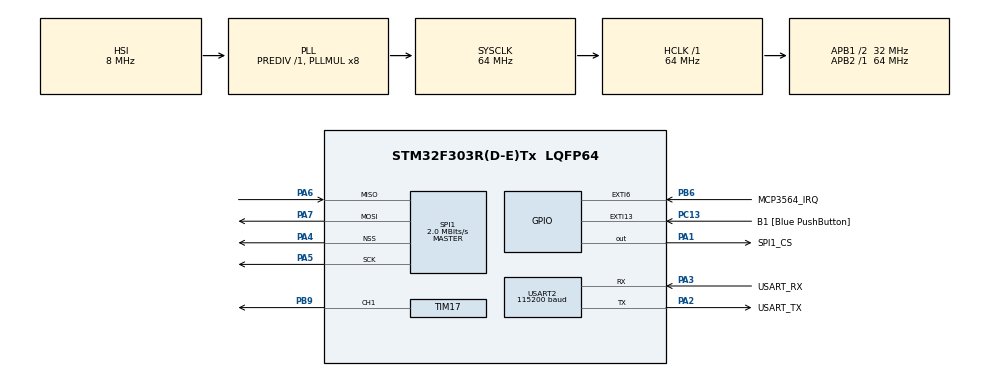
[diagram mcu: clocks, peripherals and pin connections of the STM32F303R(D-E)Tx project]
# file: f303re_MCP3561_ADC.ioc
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Dma.Request0=SPI1_RX
Dma.SPI1_RX.0.Direction=DMA_PERIPH_TO_MEMORY
Dma.SPI1_RX.0.Instance=DMA1_Channel2
Dma.SPI1_RX.0.MemDataAlignment=DMA_MDATAALIGN_BYTE
Dma.SPI1_RX.0.MemInc=DMA_MINC_ENABLE
Dma.SPI1_RX.0.Mode=DMA_NORMAL
Dma.SPI1_RX.0.PeriphDataAlignment=DMA_PDATAALIGN_BYTE
Dma.SPI1_RX.0.PeriphInc=DMA_PINC_DISABLE
Dma.SPI1_RX.0.Priority=DMA_PRIORITY_HIGH
Mcu.Family=STM32F3
Mcu.Name=STM32F303R(D-E)Tx
Mcu.Package=LQFP64
NVIC.DMA1_Channel2_IRQn=true\:0\:0\:false\:false\:true\:false\:true
NVIC.EXTI9_5_IRQn=true\:0\:0\:false\:false\:true\:true\:true
NVIC.PriorityGroup=NVIC_PRIORITYGROUP_0
NVIC.SPI1_IRQn=true\:0\:0\:false\:false\:true\:true\:true
PA1.GPIO_Label=SPI1_CS
PA1.GPIO_Speed=GPIO_SPEED_FREQ_HIGH
PA1.PinState=GPIO_PIN_SET
PA1.Signal=GPIO_Output
PA13.GPIO_Label=TMS
PA13.Mode=Serial_Wire
PA13.Signal=SYS_JTMS-SWDIO
PA14.GPIO_Label=TCK
PA14.Mode=Serial_Wire
PA14.Signal=SYS_JTCK-SWCLK
PA2.GPIO_Label=USART_TX
PA2.GPIO_Mode=GPIO_MODE_AF_PP
PA2.GPIO_PuPd=GPIO_NOPULL
PA2.GPIO_Speed=GPIO_SPEED_FREQ_LOW
PA2.Mode=Asynchronous
PA2.Signal=USART2_TX
PA3.GPIO_Label=USART_RX
PA3.GPIO_Mode=GPIO_MODE_AF_PP
PA3.GPIO_PuPd=GPIO_NOPULL
PA3.GPIO_Speed=GPIO_SPEED_FREQ_LOW
PA3.Mode=Asynchronous
PA3.Signal=USART2_RX
PA4.Mode=NSS_Signal_Hard_Output
PA4.Signal=SPI1_NSS
PA5.Mode=Full_Duplex_Master
PA5.Signal=SPI1_SCK
PA6.Mode=Full_Duplex_Master
PA6.Signal=SPI1_MISO
PA7.Mode=Full_Duplex_Master
PA7.Signal=SPI1_MOSI
PB6.GPIO_Label=MCP3564_IRQ
PB6.GPIO_ModeDefaultEXTI=GPIO_MODE_IT_RISING
PB6.Signal=GPXTI6
PB9.Signal=S_TIM17_CH1
PC13.GPIO_Label=B1 [Blue PushButton]
PC13.GPIO_ModeDefaultEXTI=GPIO_MODE_IT_FALLING
PC13.Signal=GPXTI13
PC14-OSC32_IN.Mode=LSE-External-Oscillator
PC14-OSC32_IN.Signal=RCC_OSC32_IN
PC15-OSC32_OUT.Mode=LSE-External-Oscillator
PC15-OSC32_OUT.Signal=RCC_OSC32_OUT
PF0-OSC_IN.Mode=HSE-External-Clock-Source
PF0-OSC_IN.Signal=RCC_OSC_IN
PF1-OSC_OUT.Signal=RCC_OSC_OUT
ProjectManager.HeapSize=0x200
ProjectManager.StackSize=0x400
ProjectManager.TargetToolchain=STM32CubeIDE
RCC.AHBFreq_Value=64000000
RCC.APB1CLKDivider=RCC_HCLK_DIV2
RCC.APB1Freq_Value=32000000
RCC.APB1TimFreq_Value=64000000
RCC.APB2Freq_Value=64000000
RCC.APB2TimFreq_Value=64000000
RCC.CortexFreq_Value=64000000
RCC.HCLKFreq_Value=64000000
RCC.HSE_VALUE=8000000
RCC.HSI_VALUE=8000000
RCC.PLLM=8
RCC.PLLMUL=RCC_PLL_MUL8
RCC.PLLN=336
RCC.PLLP=RCC_PLLP_DIV4
RCC.PLLQ=7
RCC.RCC_PLLsource_Clock_Source_FROM_HSE=RCC_HSE_PREDIV_DIV2
RCC.SYSCLKFreq_VALUE=64000000
RCC.SYSCLKSourceVirtual=RCC_SYSCLKSOURCE_PLLCLK
RCC.TIM17Selection=RCC_TIM17CLK_PLLCLK
RCC.USBFreq_Value=64000000
SH.S_TIM17_CH1.0=TIM17_CH1,Output Compare1 CH1
SPI1.BaudRatePrescaler=SPI_BAUDRATEPRESCALER_32
SPI1.CalculateBaudRate=2.0 MBits/s
SPI1.DataSize=SPI_DATASIZE_8BIT
SPI1.Direction=SPI_DIRECTION_2LINES
SPI1.Mode=SPI_MODE_MASTER
SPI1.NSSPMode=SPI_NSS_PULSE_DISABLE
SPI1.TIMode=SPI_TIMODE_DISABLE
SPI1.VirtualNSS=VM_NSSHARD
SPI1.VirtualType=VM_MASTER
TIM17.Channel=TIM_CHANNEL_1
TIM17.OCMode_1=TIM_OCMODE_TOGGLE
TIM17.Period=13-1
USART2.BaudRate=115200
USART2.VirtualMode-Asynchronous=VM_ASYNC
VP_TIM17_VS_ClockSourceINT.Mode=Enable_Timer
board=NUCLEO-F303RE

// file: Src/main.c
/* USER CODE BEGIN Header */
/**
  ******************************************************************************
  * @file           : main.c
  * @brief          : Main program body
  ******************************************************************************
  * @attention
  *
  * <h2><center>&copy; Copyright (c) 2021 STMicroelectronics.
  * All rights reserved.</center></h2>
  *
  * This software component is licensed by ST under BSD 3-Clause license,
  * the "License"; You may not use this file except in compliance with the
  * License. You may obtain a copy of the License at:
  *                        opensource.org/licenses/BSD-3-Clause
  *
  ******************************************************************************
  */
/* USER CODE END Header */
#include "main.h"

/* USER CODE BEGIN Includes */
#include "mcp3564.h"
/* USER CODE END Includes */

SPI_HandleTypeDef hspi1;
DMA_HandleTypeDef hdma_spi1_rx;

TIM_HandleTypeDef htim17;

UART_HandleTypeDef huart2;

/* USER CODE BEGIN PV */
volatile uint32_t adc_val;
volatile bool setup_done;
/* USER CODE END PV */

void SystemClock_Config(void);
static void MX_GPIO_Init(void);
static void MX_USART2_UART_Init(void);
static void MX_DMA_Init(void);
static void MX_SPI1_Init(void);
static void MX_TIM17_Init(void);

int main(void)
{
  /* USER CODE BEGIN 1 */
	setup_done = false;
  /* USER CODE END 1 */

  /* MCU Configuration--------------------------------------------------------*/

  /* Reset of all peripherals, Initializes the Flash interface and the Systick. */
  HAL_Init();

  /* Configure the system clock */
  SystemClock_Config();

  /* Initialize all configured peripherals */
  MX_GPIO_Init();
  MX_USART2_UART_Init();
  MX_DMA_Init();
  MX_SPI1_Init();
  MX_TIM17_Init();
  /* USER CODE BEGIN 2 */
  printf("boink\n");
  HAL_TIM_Base_Start(&htim17);
  HAL_TIM_OC_Start(&htim17, TIM_CHANNEL_1);
  HAL_Delay(10);

  MCP3561_Reset(&hspi1);
  HAL_Delay(10);
  MCP3561_PrintRegisters(&hspi1);
  printf("\n");

  MCP3561_Init(&hspi1);
  printf("\n");
  HAL_Delay(10);
  MCP3561_PrintRegisters(&hspi1);
  printf("\n");

  setup_done = true;
  /* USER CODE END 2 */

  /* Infinite loop */
  while (1)
  {

    /* USER CODE BEGIN 3 */
	  //MCP3561_PrintRegisters();
	  //printf("\n");
	  HAL_Delay(100);
	  printf("%d\n", (int)adc_val);  // updated in ISR
  }
  /* USER CODE END 3 */
}

void SystemClock_Config(void)
{
  RCC_OscInitTypeDef RCC_OscInitStruct = {0};
  RCC_ClkInitTypeDef RCC_ClkInitStruct = {0};
  RCC_PeriphCLKInitTypeDef PeriphClkInit = {0};

  /** Initializes the RCC Oscillators according to the specified parameters
  * in the RCC_OscInitTypeDef structure.
  */
  RCC_OscInitStruct.OscillatorType = RCC_OSCILLATORTYPE_HSI;
  RCC_OscInitStruct.HSIState = RCC_HSI_ON;
  RCC_OscInitStruct.HSICalibrationValue = RCC_HSICALIBRATION_DEFAULT;
  RCC_OscInitStruct.PLL.PLLState = RCC_PLL_ON;
  RCC_OscInitStruct.PLL.PLLSource = RCC_PLLSOURCE_HSI;
  RCC_OscInitStruct.PLL.PLLMUL = RCC_PLL_MUL8;
  RCC_OscInitStruct.PLL.PREDIV = RCC_PREDIV_DIV1;
  if (HAL_RCC_OscConfig(&RCC_OscInitStruct) != HAL_OK)
  {
    Error_Handler();
  }
  /** Initializes the CPU, AHB and APB buses clocks
  */
  RCC_ClkInitStruct.ClockType = RCC_CLOCKTYPE_HCLK|RCC_CLOCKTYPE_SYSCLK
                              |RCC_CLOCKTYPE_PCLK1|RCC_CLOCKTYPE_PCLK2;
  RCC_ClkInitStruct.SYSCLKSource = RCC_SYSCLKSOURCE_PLLCLK;
  RCC_ClkInitStruct.AHBCLKDivider = RCC_SYSCLK_DIV1;
  RCC_ClkInitStruct.APB1CLKDivider = RCC_HCLK_DIV2;
  RCC_ClkInitStruct.APB2CLKDivider = RCC_HCLK_DIV1;

  if (HAL_RCC_ClockConfig(&RCC_ClkInitStruct, FLASH_LATENCY_2) != HAL_OK)
  {
    Error_Handler();
  }
  PeriphClkInit.PeriphClockSelection = RCC_PERIPHCLK_USART2|RCC_PERIPHCLK_TIM17;
  PeriphClkInit.Usart2ClockSelection = RCC_USART2CLKSOURCE_PCLK1;
  PeriphClkInit.Tim17ClockSelection = RCC_TIM17CLK_PLLCLK;
  if (HAL_RCCEx_PeriphCLKConfig(&PeriphClkInit) != HAL_OK)
  {
    Error_Handler();
  }
}

static void MX_SPI1_Init(void)
{

  /* SPI1 parameter configuration*/
  hspi1.Instance = SPI1;
  hspi1.Init.Mode = SPI_MODE_MASTER;
  hspi1.Init.Direction = SPI_DIRECTION_2LINES;
  hspi1.Init.DataSize = SPI_DATASIZE_8BIT;
  hspi1.Init.CLKPolarity = SPI_POLARITY_LOW;
  hspi1.Init.CLKPhase = SPI_PHASE_1EDGE;
  hspi1.Init.NSS = SPI_NSS_HARD_OUTPUT;
  hspi1.Init.BaudRatePrescaler = SPI_BAUDRATEPRESCALER_32;
  hspi1.Init.FirstBit = SPI_FIRSTBIT_MSB;
  hspi1.Init.TIMode = SPI_TIMODE_DISABLE;
  hspi1.Init.CRCCalculation = SPI_CRCCALCULATION_DISABLE;
  hspi1.Init.CRCPolynomial = 7;
  hspi1.Init.CRCLength = SPI_CRC_LENGTH_DATASIZE;
  hspi1.Init.NSSPMode = SPI_NSS_PULSE_DISABLE;
  if (HAL_SPI_Init(&hspi1) != HAL_OK)
  {
    Error_Handler();
  }

}

static void MX_TIM17_Init(void)
{

  TIM_OC_InitTypeDef sConfigOC = {0};
  TIM_BreakDeadTimeConfigTypeDef sBreakDeadTimeConfig = {0};

  htim17.Instance = TIM17;
  htim17.Init.Prescaler = 0;
  htim17.Init.CounterMode = TIM_COUNTERMODE_UP;
  htim17.Init.Period = 13-1;
  htim17.Init.ClockDivision = TIM_CLOCKDIVISION_DIV1;
  htim17.Init.RepetitionCounter = 0;
  htim17.Init.AutoReloadPreload = TIM_AUTORELOAD_PRELOAD_DISABLE;
  if (HAL_TIM_Base_Init(&htim17) != HAL_OK)
  {
    Error_Handler();
  }
  if (HAL_TIM_OC_Init(&htim17) != HAL_OK)
  {
    Error_Handler();
  }
  sConfigOC.OCMode = TIM_OCMODE_TOGGLE;
  sConfigOC.Pulse = 0;
  sConfigOC.OCPolarity = TIM_OCPOLARITY_HIGH;
  sConfigOC.OCNPolarity = TIM_OCNPOLARITY_HIGH;
  sConfigOC.OCFastMode = TIM_OCFAST_DISABLE;
  sConfigOC.OCIdleState = TIM_OCIDLESTATE_RESET;
  sConfigOC.OCNIdleState = TIM_OCNIDLESTATE_RESET;
  if (HAL_TIM_OC_ConfigChannel(&htim17, &sConfigOC, TIM_CHANNEL_1) != HAL_OK)
  {
    Error_Handler();
  }
  sBreakDeadTimeConfig.OffStateRunMode = TIM_OSSR_DISABLE;
  sBreakDeadTimeConfig.OffStateIDLEMode = TIM_OSSI_DISABLE;
  sBreakDeadTimeConfig.LockLevel = TIM_LOCKLEVEL_OFF;
  sBreakDeadTimeConfig.DeadTime = 0;
  sBreakDeadTimeConfig.BreakState = TIM_BREAK_DISABLE;
  sBreakDeadTimeConfig.BreakPolarity = TIM_BREAKPOLARITY_HIGH;
  sBreakDeadTimeConfig.BreakFilter = 0;
  sBreakDeadTimeConfig.AutomaticOutput = TIM_AUTOMATICOUTPUT_DISABLE;
  if (HAL_TIMEx_ConfigBreakDeadTime(&htim17, &sBreakDeadTimeConfig) != HAL_OK)
  {
    Error_Handler();
  }
  HAL_TIM_MspPostInit(&htim17);

}

static void MX_USART2_UART_Init(void)
{

  huart2.Instance = USART2;
  huart2.Init.BaudRate = 115200;
  huart2.Init.WordLength = UART_WORDLENGTH_8B;
  huart2.Init.StopBits = UART_STOPBITS_1;
  huart2.Init.Parity = UART_PARITY_NONE;
  huart2.Init.Mode = UART_MODE_TX_RX;
  huart2.Init.HwFlowCtl = UART_HWCONTROL_NONE;
  huart2.Init.OverSampling = UART_OVERSAMPLING_16;
  huart2.Init.OneBitSampling = UART_ONE_BIT_SAMPLE_DISABLE;
  huart2.AdvancedInit.AdvFeatureInit = UART_ADVFEATURE_NO_INIT;
  if (HAL_UART_Init(&huart2) != HAL_OK)
  {
    Error_Handler();
  }

}

static void MX_DMA_Init(void)
{

  /* DMA controller clock enable */
  __HAL_RCC_DMA1_CLK_ENABLE();

  /* DMA interrupt init */
  /* DMA1_Channel2_IRQn interrupt configuration */
  HAL_NVIC_SetPriority(DMA1_Channel2_IRQn, 0, 0);
  HAL_NVIC_EnableIRQ(DMA1_Channel2_IRQn);

}

static void MX_GPIO_Init(void)
{
  GPIO_InitTypeDef GPIO_InitStruct = {0};

  /* GPIO Ports Clock Enable */
  __HAL_RCC_GPIOC_CLK_ENABLE();
  __HAL_RCC_GPIOF_CLK_ENABLE();
  __HAL_RCC_GPIOA_CLK_ENABLE();
  __HAL_RCC_GPIOB_CLK_ENABLE();

  /*Configure GPIO pin Output Level */
  HAL_GPIO_WritePin(SPI1_CS_GPIO_Port, SPI1_CS_Pin, GPIO_PIN_SET);

  /*Configure GPIO pin : B1_Pin */
  GPIO_InitStruct.Pin = B1_Pin;
  GPIO_InitStruct.Mode = GPIO_MODE_IT_FALLING;
  GPIO_InitStruct.Pull = GPIO_NOPULL;
  HAL_GPIO_Init(B1_GPIO_Port, &GPIO_InitStruct);

  /*Configure GPIO pin : SPI1_CS_Pin */
  GPIO_InitStruct.Pin = SPI1_CS_Pin;
  GPIO_InitStruct.Mode = GPIO_MODE_OUTPUT_PP;
  GPIO_InitStruct.Pull = GPIO_NOPULL;
  GPIO_InitStruct.Speed = GPIO_SPEED_FREQ_HIGH;
  HAL_GPIO_Init(SPI1_CS_GPIO_Port, &GPIO_InitStruct);

  /*Configure GPIO pin : MCP3564_IRQ_Pin */
  GPIO_InitStruct.Pin = MCP3564_IRQ_Pin;
  GPIO_InitStruct.Mode = GPIO_MODE_IT_RISING;
  GPIO_InitStruct.Pull = GPIO_NOPULL;
  HAL_GPIO_Init(MCP3564_IRQ_GPIO_Port, &GPIO_InitStruct);

  /* EXTI interrupt init*/
  HAL_NVIC_SetPriority(EXTI9_5_IRQn, 0, 0);
  HAL_NVIC_EnableIRQ(EXTI9_5_IRQn);

}

/* USER CODE BEGIN 4 */
/**
 * @brief  Retargets the C library printf function to the USART.
 * @param  None
 * @retval None
 */
PUTCHAR_PROTOTYPE {
    /* Place your implementation of fputc here */
    /* e.g. write a character to the EVAL_COM1 and Loop until the end of transmission */
    HAL_UART_Transmit(&huart2, (uint8_t *) &ch, 1, 0xFFFF);

    return ch;
}

/**
* @brief Interrupt callback for GPIOs
*/
void HAL_GPIO_EXTI_Callback(uint16_t GPIO_Pin)
{
    if ( GPIO_Pin == GPIO_PIN_6) {
    	if(setup_done){
    		uint8_t val[5] = {0,0,0,0,0};
    		uint8_t cmd[5] = {0,0,0,0,0};
    		cmd[0] = MCP3561_SREAD_DATA_COMMAND;
    		HAL_GPIO_WritePin(SPI1_CS_GPIO_Port, SPI1_CS_Pin, 0);
    		// non-blocking "HAL_SPI_TransmitReceive_IT" does not work
    		// because we need to create CS signal manually
    		// the timout therefore must not be greater than 1/fs
    		// e.g. at 300 Hz --> 3ms
    		HAL_SPI_TransmitReceive(&hspi1, &cmd[0], &val[0], 5, 1);
    		HAL_GPIO_WritePin(SPI1_CS_GPIO_Port, SPI1_CS_Pin, 1);
    		adc_val = (val[1] << 16) | (val[2] << 8) | val[3];
    	}
    }
}

/*@brief this fuction does One-Shot for MCP3564 */
void ADC_One_Shot(SPI_HandleTypeDef *hspi)
{
 int status;
 int notReady;

 // Pull chip select low
 HAL_GPIO_WritePin(SPI1_CS_GPIO_Port, SPI1_CS_Pin, 0);

 // Write command byte and get status in return
 uint8_t cmd;
 cmd = readConversionData;
 HAL_SPI_TransmitReceive(hspi, &cmd,0, 1, 10);

 // Check the status byte for the POR bit. Low = POR has occurred
 if ((status & 0x01) == 0x00)
 {
	 //Use your own debug mode
	 //Lcd_cursor(&lcd,0,9);
	 //Lcd_string (&lcd,"ADC POR");
     MCP3561_Init_ch0(&hspi1);
  return;
 }

 // Check the data ready bit
 if ((status & 0x04) == 0x04)
 {
  notReady++;
  if (notReady > 20)
  {
	  //Use your own debug mode
	  //Lcd_cursor(&lcd,0,9);
	  //Lcd_string (&lcd,"ADC not ready");
  }
  else
  {
	  HAL_GPIO_WritePin(SPI1_CS_GPIO_Port, SPI1_CS_Pin, 1);
   return;
  }
 }
 notReady = 0;

 // Set chip select high again
 HAL_GPIO_WritePin(SPI1_CS_GPIO_Port, SPI1_CS_Pin, 1);

 // Start the next encode
 cmd = startConversionFastCmd;
 HAL_GPIO_WritePin(SPI1_CS_GPIO_Port, SPI1_CS_Pin, 0);
 HAL_SPI_TransmitReceive(hspi, &cmd, 0, 1, 10);
 HAL_GPIO_WritePin(SPI1_CS_GPIO_Port, SPI1_CS_Pin, 1);

}

/* USER CODE END 4 */

void Error_Handler(void)
{
  __disable_irq();
  while (1)
  {
  }
}

/************************ (C) COPYRIGHT STMicroelectronics *****END OF FILE****/
